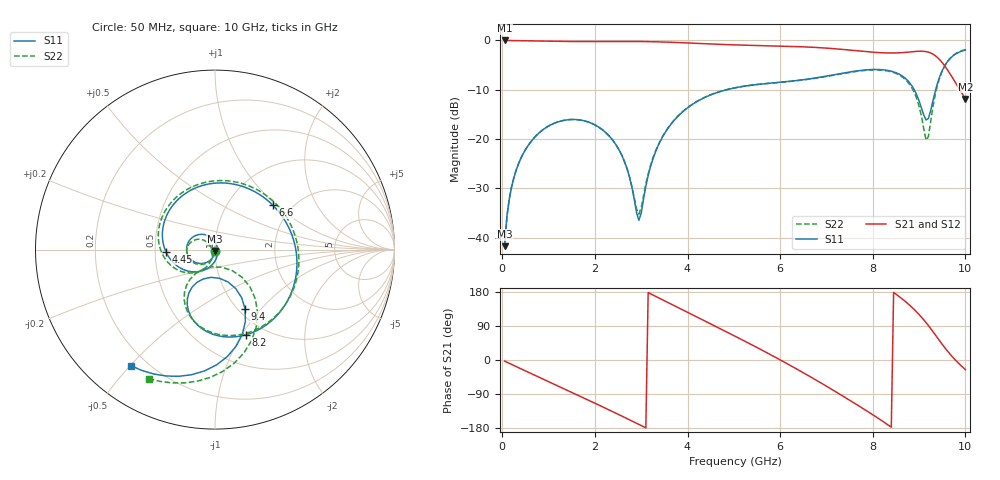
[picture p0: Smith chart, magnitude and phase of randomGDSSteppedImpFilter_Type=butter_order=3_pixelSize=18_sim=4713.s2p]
! freq	dB(S11)	phase(S11)	dB(S12)	phase(S12)
!  dB(S21)	phase(S21)	dB(S22)	phase(S22)
!S-par simulation data
#  GHz  S  DB  R 50
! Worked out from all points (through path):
!   200 points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, 50 MHz to 10 GHz, reference 50 ohm
!   highest |S21| = 0.00 dB at 50 MHz (marker M1); lowest = -11.9 dB at 10 GHz (marker M2)
!   group delay of S21, straight-line fit = 191 ps
!   lowest |S11| = -41.7 dB at 50 MHz (marker M3), VSWR 1.02, Z = 50 - j0.821 ohm
!   |S11| at or under -10 dB: start of sweep to 4.843 GHz; 8.896 GHz to 9.358 GHz (462.5 MHz wide, 5.07 % of centre)
!   |S22| runs from -41.7 to -1.9 dB; largest |S21 - S12| = 0
!   S11 on the Smith chart (normalised r, x): 50 MHz: 1.00, -0.02; 4.45 GHz: 0.57, -0.01; 6.6 GHz: 1.59, +0.95; 8.2 GHz: 0.82, -1.05; 9.4 GHz: 1.07, -0.83; 10 GHz: 0.14, -0.50
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0.05  -41.70 -92.5  -0.00 -2.9  -0.00 -2.9  -41.69 -92.2
0.2  -29.72 -101.9  -0.02 -11.6  -0.02 -11.6  -29.71 -101.0
0.5  -22.14 -120.0  -0.07 -28.8  -0.07 -28.8  -22.13 -117.7
1.15  -16.68 -159.4  -0.18 -65.8  -0.18 -65.8  -16.68 -153.4
1.75  -16.25 164.3  -0.22 -99.7  -0.22 -99.7  -16.25 175.0
2.5  -21.83 113.6  -0.20 -143.1  -0.20 -143.1  -21.83 140.0
2.95  -36.47 6.3  -0.21 -170.0  -0.21 -170.0  -35.20 -165.4
3.4  -20.65 -103.6  -0.29 162.6  -0.29 162.6  -20.52 -113.8
3.95  -14.03 -144.0  -0.48 128.9  -0.48 128.9  -13.97 -139.6
4.45  -11.23 -177.8  -0.69 98.3  -0.69 98.3  -11.18 -166.6
5.05  -9.57 142.1  -0.91 61.3  -0.91 61.3  -9.53 159.9
5.85  -8.60 88.1  -1.10 10.3  -1.10 10.3  -8.61 111.9
6.6  -7.83 37.9  -1.34 -40.6  -1.34 -40.6  -7.88 60.3
6.7  -7.69 31.3  -1.38 -47.6  -1.38 -47.6  -7.75 52.9
7.4  -6.55 -14.9  -1.86 -98.6  -1.86 -98.6  -6.63 -2.1
8.2  -5.93 -69.8  -2.50 -160.5  -2.50 -160.5  -6.04 -67.2
8.35  -6.13 -80.7  -2.54 -173.0  -2.54 -173.0  -6.25 -79.6
8.85  -9.27 -116.7  -2.29 138.6  -2.29 138.6  -9.70 -121.7
9.15  -16.12 -98.3  -2.26 98.8  -2.26 98.8  -20.18 -100.1
9.4  -8.61 -63.2  -3.48 57.9  -3.48 57.9  -8.98 -50.7
9.7  -3.37 -94.9  -7.23 11.1  -7.23 11.1  -3.34 -86.4
10  -1.95 -126.0  -11.85 -25.3  -11.85 -25.3  -1.85 -117.2
